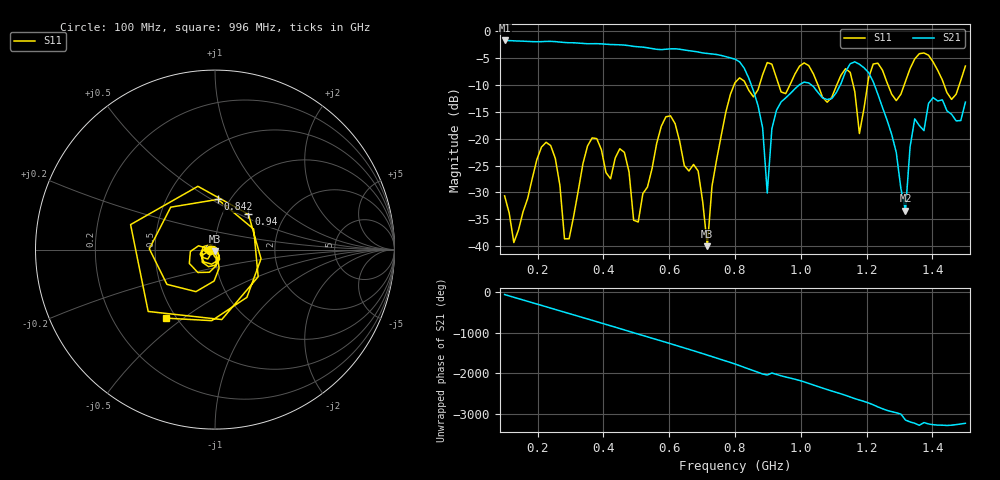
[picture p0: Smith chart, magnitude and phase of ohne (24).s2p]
! NanoVNA-App
! Date: 2025-09-26 09:55:35
! Start: 100MHz Stop: 1,5GHz Points: 101
! S-Parameter data: F S11 S21 S12 S22
# Hz S RI R 50
!  Frequency  S11_Real  S11_Imag  S21_Real  S21_Imag  S12_Real  S12_Imag  S22_Real  S22_Imag
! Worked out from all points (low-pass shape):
!   101 points, 100 MHz to 1.5 GHz, reference 50 ohm
!   highest |S21| = -1.79 dB at 100 MHz (marker M1); lowest = -33.4 dB at 1.318 GHz (marker M2)
!   |S21| within 3 dB of the highest: start of sweep to 772 MHz
!   lowest |S11| = -40.0 dB at 716 MHz (marker M3), VSWR 1.02, Z = 49.8 - j0.984 ohm
!   |S11| at or under -10 dB: start of sweep to 797.5 MHz; 833.5 MHz to 874.7 MHz (41.21 MHz wide, 4.83 % of centre); 1.052 GHz to 1.11 GHz (57.71 MHz wide, 5.34 % of centre)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
!   S12 and S22 are empty: the file has one direction only
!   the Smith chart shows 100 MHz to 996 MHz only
!   S11 on the Smith chart (normalised r, x): 100 MHz: 0.94, -0.01; 842 MHz: 0.88, +0.53; 940 MHz: 1.32, +0.56; 996 MHz: 0.44, -0.43
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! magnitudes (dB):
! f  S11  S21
! 100 MHz  -30.6  -1.8
! 128 MHz  -39.3  -1.9
! 226 MHz  -20.7  -2.0
! 296 MHz  -38.6  -2.2
! 338 MHz  -24.6  -2.3
! 464 MHz  -22.6  -2.7
! 506 MHz  -35.5  -3.0
! 576 MHz  -17.7  -3.5
! 688 MHz  -26.0  -3.9
! 716 MHz  -40.0  -4.2
! 800 MHz  -9.6  -5.3
! 842 MHz  -11.0  -8.8
! 898 MHz  -5.9  -30.1
! 940 MHz  -11.3  -13.2
! 996 MHz  -6.6  -10.0
! 1.038 GHz  -8.0  -10.3
! 1.178 GHz  -19.1  -6.2
! 1.22 GHz  -6.2  -9.4
! 1.276 GHz  -11.8  -19.2
! 1.318 GHz  -9.4  -33.4
! 1.346 GHz  -5.2  -16.3
! 1.5 GHz  -6.5  -13.2
